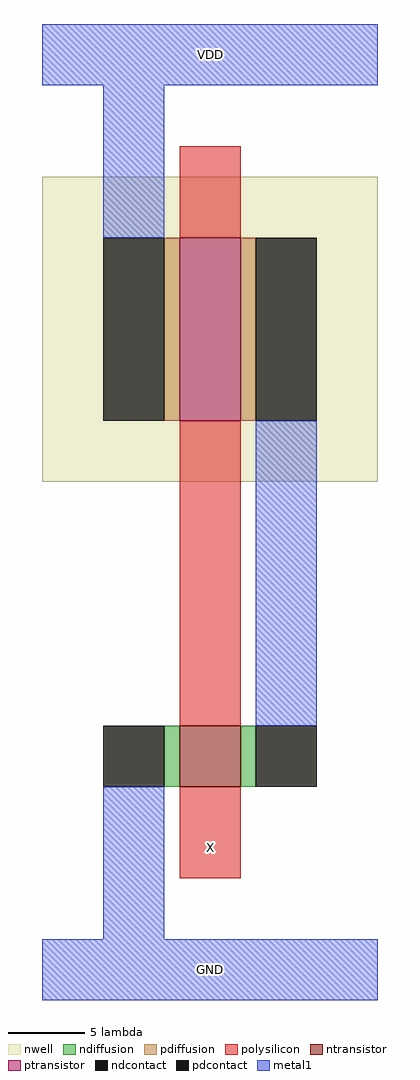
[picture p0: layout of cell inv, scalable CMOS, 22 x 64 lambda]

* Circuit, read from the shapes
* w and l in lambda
.subckt inv VDD GND X
M1 n1 X GND VSUBS nfet w=4 l=4
M2 n1 X VDD n2 pfet w=12 l=4
.ends

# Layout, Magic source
magic
tech scmos
<< nwell >>
rect 0 20 22 40
<< polysilicon >>
rect 9 36 13 42
rect 9 4 13 24
rect 9 -6 13 0
<< ndiffusion >>
rect 8 0 9 4
rect 13 0 14 4
<< pdiffusion >>
rect 8 24 9 36
rect 13 24 14 36
<< metal1 >>
rect 0 46 22 50
rect 4 36 8 46
rect 14 4 18 24
rect 4 -10 8 0
rect 0 -14 22 -10
<< ntransistor >>
rect 9 0 13 4
<< ptransistor >>
rect 9 24 13 36
<< ndcontact >>
rect 4 0 8 4
rect 14 0 18 4
<< pdcontact >>
rect 4 24 8 36
rect 14 24 18 36
<< labels >>
flabel metal1 0 46 22 50 0 FreeMono 40 0 0 0 VDD
port 1 nsew
flabel metal1 0 -14 22 -10 0 FreeMono 40 0 0 0 GND
port 3 nsew
flabel polysilicon 9 -6 13 -2 0 FreeMono 40 0 0 0 X
port 4 nsew
<< end >>
